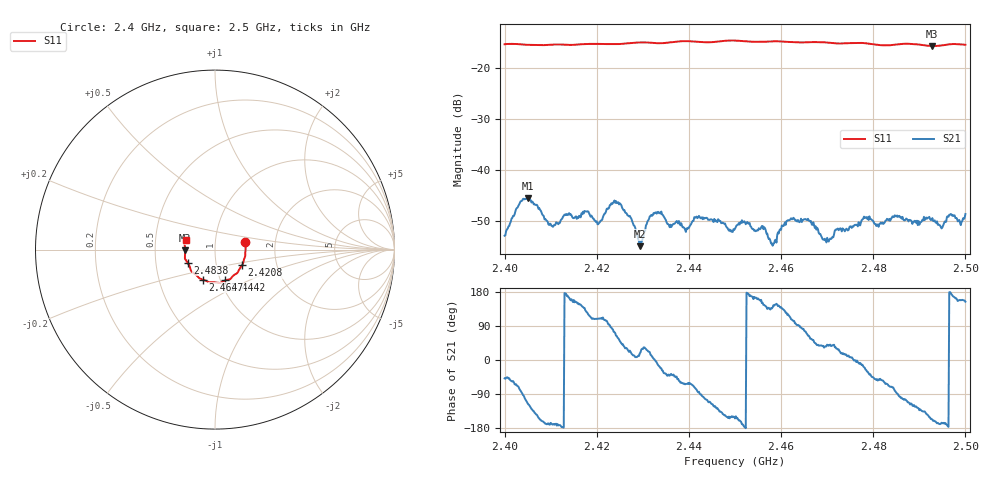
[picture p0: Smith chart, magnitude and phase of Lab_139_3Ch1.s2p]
# Hz S RI R 50
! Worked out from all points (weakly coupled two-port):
!   601 points, 2.4 GHz to 2.5 GHz, reference 50 ohm
!   highest |S21| = -45.43 dB at 2.405 GHz (marker M1); lowest = -54.9 dB at 2.4293 GHz (marker M2)
!   lowest |S11| = -15.6 dB at 2.4928 GHz (marker M3), VSWR 1.40, Z = 35.8 - j0.365 ohm
!   |S11| at or under -10 dB: start of sweep to end of sweep
!   S12 and S22 are empty: the file has one direction only
!   S11 on the Smith chart (normalised r, x): 2.4 GHz: 1.40, +0.12; 2.4208 GHz: 1.33, -0.24; 2.4442 GHz: 1.05, -0.37; 2.4647 GHz: 0.83, -0.29; 2.4838 GHz: 0.73, -0.11; 2.5 GHz: 0.72, +0.08
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2.4e9  0.1678 0.0412  0.00151 -0.00171  0 0  0 0
2.405e9  0.1703 0.00909  -0.0022 -0.00488  0 0  0 0
2.41e9  0.1691 -0.028  -0.00287 -0.000718  0 0  0 0
2.416667e9  0.1588 -0.0681  -0.00303 0.00224  0 0  0 0
2.420833e9  0.1507 -0.0871  -0.00105 0.00303  0 0  0 0
2.424667e9  0.1372 -0.1061  0.00263 0.00408  0 0  0 0
2.429333e9  0.1264 -0.1283  0.00171 0.000543  0 0  0 0
2.433333e9  0.1079 -0.1402  0.00379 -0.000941  0 0  0 0
2.439167e9  0.0846 -0.1649  0.00114 -0.00235  0 0  0 0
2.444167e9  0.0567 -0.1712  -0.00113 -0.00307  0 0  0 0
2.45e9  0.0245 -0.1863  -0.0024 -0.00116  0 0  0 0
2.456167e9  -0.015 -0.182  -0.00218 0.00149  0 0  0 0
2.458167e9  -0.0265 -0.1829  -0.00137 0.0012  0 0  0 0
2.461667e9  -0.0447 -0.1764  -0.00148 0.00288  0 0  0 0
2.464667e9  -0.0672 -0.1671  0.000435 0.0032  0 0  0 0
2.466667e9  -0.0801 -0.1627  0.00169 0.00239  0 0  0 0
2.469833e9  -0.0926 -0.154  0.00159 0.00115  0 0  0 0
2.478333e9  -0.1354 -0.1136  0.0031 -0.00147  0 0  0 0
2.483333e9  -0.1504 -0.0763  0.00121 -0.00299  0 0  0 0
2.483833e9  -0.1532 -0.0721  0.00108 -0.00312  0 0  0 0
2.492833e9  -0.1658 -0.00496  -0.00314 -0.00129  0 0  0 0
2.5e9  -0.1625 0.0527  -0.00334 0.00164  0 0  0 0
